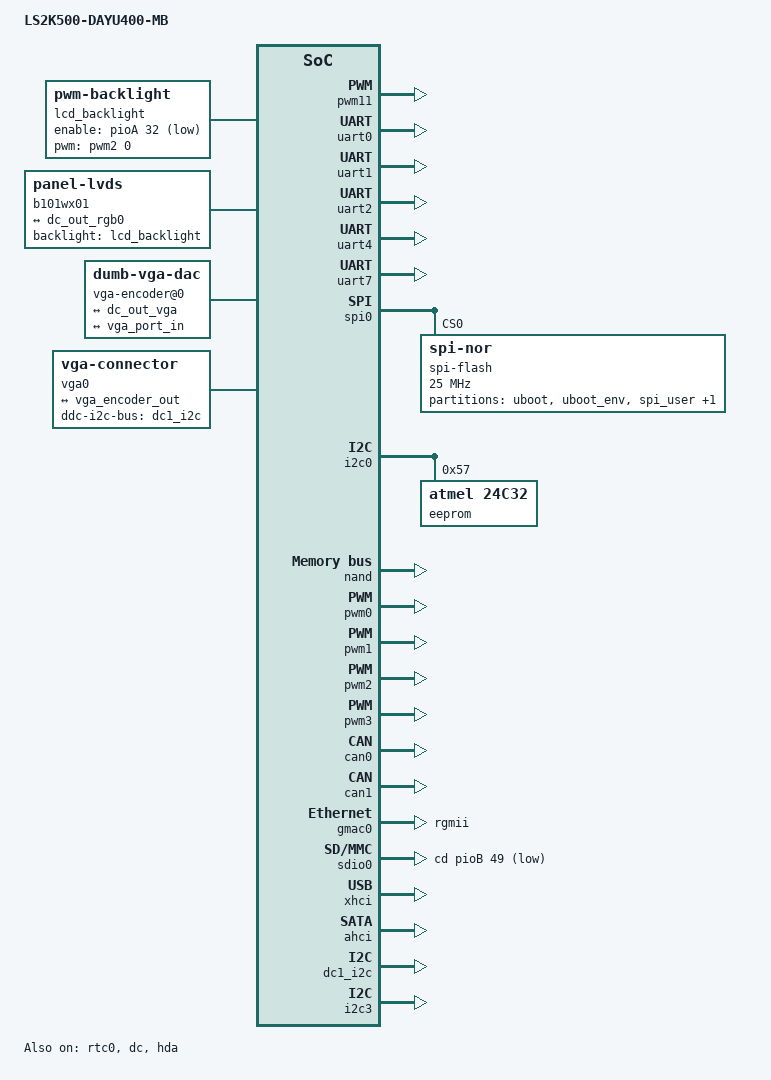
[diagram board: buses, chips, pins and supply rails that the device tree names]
#include "loongson2k500.dtsi"
#include "loongson_panel_param.dtsi"

/ {
    model = "LS2K500-DAYU400-MB";
    chosen {
		stdout-path = "serial2:115200n8";
		bootargs = "earlycon";
	};

    // not need memory node, we get memory info from boot params.
    // memory {
	// 	name = "memory";
	// 	device_type = "memory";
	// 	reg =  <0 0x00200000 0 0x0ee00000	/* low 256MB, 0 ~ 2MB reserved, highest 16MB reserved. */
	// 			0 0x90000000 0 0x30000000>;	/* hige 256M ~ 1G */
	// };

    reserved-memory {
		#address-cells = <2>;
		#size-cells = <2>;
		ranges;

		linux,cma {
			compatible = "shared-dma-pool";
			reusable;
			size = <0 0x02000000>;
            alloc-ranges = <0 0x00200000 0 0x09000000>;
			linux,cma-default;
		};

        fb_memory: framebuffer@0b000000 {
            compatible = "shared-dma-pool";
			no-map;
			reg = <0 0x0b000000 0 0x04000000>; /* 64M */
		};
	};
};

&soc {
    lcd_backlight: backlight {
        compatible = "pwm-backlight";
        pwms = <&pwm2 0 5000000>;

        brightness-levels = <0 4 8 16 32 64 128 256 511>;
        default-brightness-level = <8>;

        enable-gpios = <&pioA 32 GPIO_ACTIVE_LOW>;
        post-pwm-on-delay-ms = <10>;
        pwm-off-delay-ms = <10>;
    };

    panel: dvo-connector@0 {
		#address-cells = <1>;
		#size-cells = <0>;
		compatible = "panel-lvds", "auo,b101ean01";
		backlight = <&lcd_backlight>;

		/* lcd power on control gpio */
		// enable-gpios = <&pioA 3 GPIO_ACTIVE_HIGH>;
		// power-supply = <&vdd_lcd>;
		width-mm = <223>;
		height-mm = <125>;
		label = "b101wx01";
		data-mapping = "jeida-24";

		panel-timing {
			clock-frequency = <71000000>;
			hactive = <1280>;
			vactive = <800>;
			hsync-len = <32>;
			hfront-porch = <8>;
			hback-porch = <10>;
			vfront-porch = <3>;
			vback-porch = <3>;
			vsync-len = <6>;
			de-active = <1>;
			hsync-active = <0>;
			vsync-active = <0>;
			pixelclk-active = <0>;
		};

		port@0 {
			reg = <0>;

			#address-cells = <1>;
			#size-cells = <0>;

			dvo_connector_in: endpoint@0 {
				reg = <0>;
				remote-endpoint = <&dc_out_rgb0>;
			};
		};
	};

    vga-encoder@0 {
		compatible = "dumb-vga-dac";

		ports {
			#address-cells = <1>;
			#size-cells = <0>;

			port@0 {
				reg = <0>;
				vga_encoder_in: endpoint {
					remote-endpoint = <&dc_out_vga>;
				};
			};

			port@1 {
				reg = <1>;
				vga_encoder_out: endpoint {
					remote-endpoint = <&vga_port_in>;
				};
			};
		};
	};

	vga-connector@0 {
		compatible = "vga-connector";

		ddc-i2c-bus = <&dc1_i2c>;
        label = "vga0";
		port {
			vga_port_in: endpoint {
				remote-endpoint = <&vga_encoder_out>;
			};
		};
	};

    pwm11: pwm@1ff5c0b0 {
        compatible = "loongson,ls2k-pwm";
        reg = <0 0x1ff5c0b0 0 0xf>;
        interrupt-parent = <&extioiic>;
        interrupts = <51>;
        #pwm-cells = <2>;
        pinctrl-0 = <&pinmux_pci_ad11_pwm11_pins>;
        pinctrl-names = "default";
        clocks = <&clocks CLK_PWM>;
        clock-names = "pwm-clk";
        status = "okay";
    };
};

&uart0 {
    status = "okay";
};

&uart1 {
    status = "okay";
};

&uart2 {
    status = "okay";
};

&uart4 {
    status = "okay";
};

&uart7 {
    pinctrl-0 = <&uart7_G120_pins>;
    pinctrl-names = "default";
    status = "okay";
};

&spi0 {
    status = "okay";

    spi-flash@0 {
        compatible = "jedec,spi-nor";
        spi-max-frequency = <25000000>;
        reg = <0>;

        partitions {
            compatible = "fixed-partitions";
            #address-cells = <1>;
            #size-cells = <1>;

            partition@0 {
                label = "uboot";
                reg = <0x0000000 0x000d0000>;
            };

            partition@0x000d0000 {
                label = "uboot_env";
                reg = <0x000d0000 0x00008000>;
            };

            partition@0x000d8000 {
                label = "spi_user";
                reg = <0x000d8000 0x00008000>;
            };

            partition@0x000e0000 {
                label = "dtb";
                reg = <0x000e0000 0x00020000>;
            };
        };
    };
};

&i2c0 {
    status = "okay";

    eeprom@57 {
    	compatible = "atmel,24c32";
    	reg = <0x57>;
    	pagesize = <32>;
    };
};

&nand {
    status = "okay";
    nand-dev-name = "ls-nand";

    partitions {
        compatible = "fixed-partitions";
        #address-cells = <1>;
        #size-cells = <1>;

        partition@0 {
            label = "kernel";
            reg = <0x0000000 0x00e00000>;
        };

        partition@0x01400000 {
            label = "root";
            reg = <0x00e00000 0x0>;
        };
    };
};

&pwm0 {
    status = "okay";
};

&pwm1 {
    status = "okay";
};

&pwm2 {
    status = "okay";
};

&pwm3 {
    status = "okay";
};
&can0 {
    status = "okay";
};

&can1 {
    status = "okay";
};

&rtc0 {
    status = "okay";
};

&gmac0 {
    status = "okay";
    phy-mode = "rgmii";
	// max-speed = <100>;
};


&sdio0 {
    status = "okay";
    cd-gpios = <&pioB 49 GPIO_ACTIVE_LOW>;
};

&xhci {
    status = "okay";
};

&ahci {
    status = "okay";
};

&dc {
    status = "okay";
    memory-region = <&fb_memory>;

    ports {
        #address-cells = <1>;
        #size-cells = <0>;

        port@0 {
            reg = <0>;
            dc_out_rgb0: endpoint {
                remote-endpoint = <&dvo_connector_in>;
            };
        };

        port@1 {
            reg = <1>;
            dc_out_vga: endpoint {
                remote-endpoint = <&vga_encoder_in>;
            };
        };
    };
};

&pinmux {
    //pix1_i2c
    uart3_pix1_i2c_pins:pinmux_uart3_pins {
        pinctrl-single,bits = <0x1c 0x11000000 0x77000000>;
    };
    //i2c3
    can1_i2c3_pins:pinmux_can1_pins {
        pinctrl-single,bits = <0x20 0x00220000 0x00770000>;
    };
    //pwm11
    pinmux_pci_ad11_pwm11_pins:pinmux_pci_ad11_pins {
        pinctrl-single,bits = <0x34 0x30000000 0xf0000000>;
    };
};

&dc1_i2c {
    status = "okay";
    pinctrl-0 = <&uart3_pix1_i2c_pins>;
    pinctrl-names = "default";
};

&hda {
    modelname = "alc269-ls2k500-hl";
    status = "okay";
};

&i2c3 {
    status = "okay";
    pinctrl-0 = <&can1_i2c3_pins>;
    pinctrl-name = "default";
};
